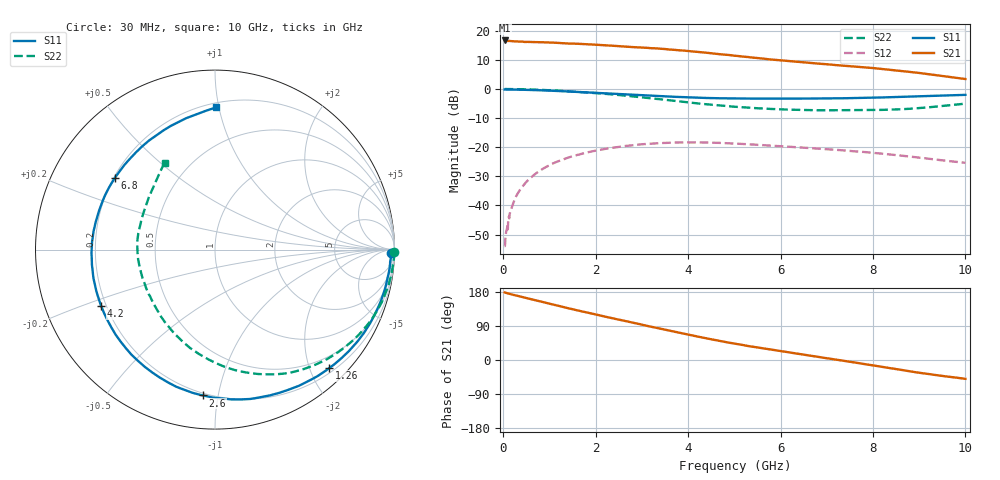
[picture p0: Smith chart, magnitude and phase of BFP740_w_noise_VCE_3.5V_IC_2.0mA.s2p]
! Infineon Technologies  Discrete & RF Semiconductors
! BFP740
! VCE =  3.5 V,  IC =  2.0 mA
! Common Emitter S-Parameters:  Jan 2016
# GHz  S  MA  R  50
!  f  S11  S21  S12  S22
! GHz  MAG  ANG  MAG  ANG  MAG  ANG  MAG  ANG
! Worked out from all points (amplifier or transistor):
!   229 points, 30 MHz to 10 GHz, reference 50 ohm
!   highest |S21| = 16.7 dB at 30 MHz (marker M1)
!   |S21| within 3 dB of that: start of sweep to 3.531 GHz
!   unconditionally stable (mu >= 1): 8.544 GHz to end of sweep
!   at 280 MHz: K = 0.05, MSG = 26.6 dB, |S12| = -36.8 dB
!   at 1.78 GHz: K = 0.17, MSG = 18.7 dB, |S12| = -21.9 dB
!   at 10 GHz: K = 1.30, MAG = 11.1 dB, |S12| = -25.4 dB
!   lowest NFmin = 0.46 dB at 450 MHz
!   S11 on the Smith chart (normalised r, x): 30 MHz: 52, -50; 1.26 GHz: 0.28, -2.33; 2.6 GHz: 0.19, -0.90; 4.2 GHz: 0.18, -0.23; 6.8 GHz: 0.20, +0.31; 10 GHz: 0.23, +0.98
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0.03  0.9802 -1.1  6.809 178.2  0.002 96.0  0.9986 -0.8
0.04  0.9806 -1.5  6.595 177.9  0.0021 86.1  0.9986 -1.0
0.06  0.98 -2.2  6.703 177.2  0.0035 95.4  0.9979 -1.6
0.1  0.9795 -3.7  6.667 175.9  0.0039 81.9  0.9989 -2.6
0.11  0.9782 -4.1  6.686 175.4  0.0061 84.5  0.9981 -2.8
0.36  0.9717 -13.3  6.51 167.6  0.0184 79.4  0.9904 -9.2
0.8  0.9507 -29.3  6.362 154.5  0.0399 68.9  0.9669 -20.1
1.26  0.9171 -46.0  6.134 140.7  0.0602 56.8  0.9272 -31.5
1.7  0.8827 -62.0  5.916 128.3  0.0774 46.4  0.8831 -41.9
2.2  0.8467 -80.4  5.633 114.5  0.0936 34.5  0.826 -54.1
2.6  0.8157 -94.8  5.378 103.9  0.104 25.4  0.775 -63.6
3.1  0.7763 -113.4  5.093 90.4  0.1137 14.6  0.7066 -75.7
3.4  0.7539 -124.7  4.906 82.5  0.1177 8.0  0.6652 -83.4
3.9  0.7221 -143.1  4.566 69.5  0.121 -2.4  0.5988 -96.3
4.2  0.7078 -153.7  4.327 62.0  0.1213 -8.4  0.5668 -103.9
4.6  0.6957 -166.8  4.026 52.3  0.1192 -15.6  0.527 -113.7
5.1  0.6866 178.6  3.665 41.2  0.1147 -23.7  0.4907 -124.8
5.8  0.6811 163.0  3.205 27.2  0.1065 -33.0  0.4538 -139.7
6.8  0.6863 144.3  2.734 8.5  0.095 -43.6  0.4314 -162.9
8.4  0.724 113.2  2.129 -22.1  0.0747 -56.7  0.4423 157.9
9  0.7495 102.4  1.884 -33.7  0.0663 -59.5  0.4703 141.5
10  0.7927 89.5  1.483 -49.7  0.054 -58.2  0.5606 120.1
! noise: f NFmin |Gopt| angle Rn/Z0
0.45  0.46  0.57  13  0.36
0.9  0.48  0.58  20  0.35
1.5  0.55  0.56  30  0.33
1.9  0.59  0.53  44  0.32
2.4  0.63  0.53  51  0.31
3.5  0.77  0.49  75  0.29
5.5  1.07  0.36  151  0.25
10  1.84  0.61  -89  0.34
